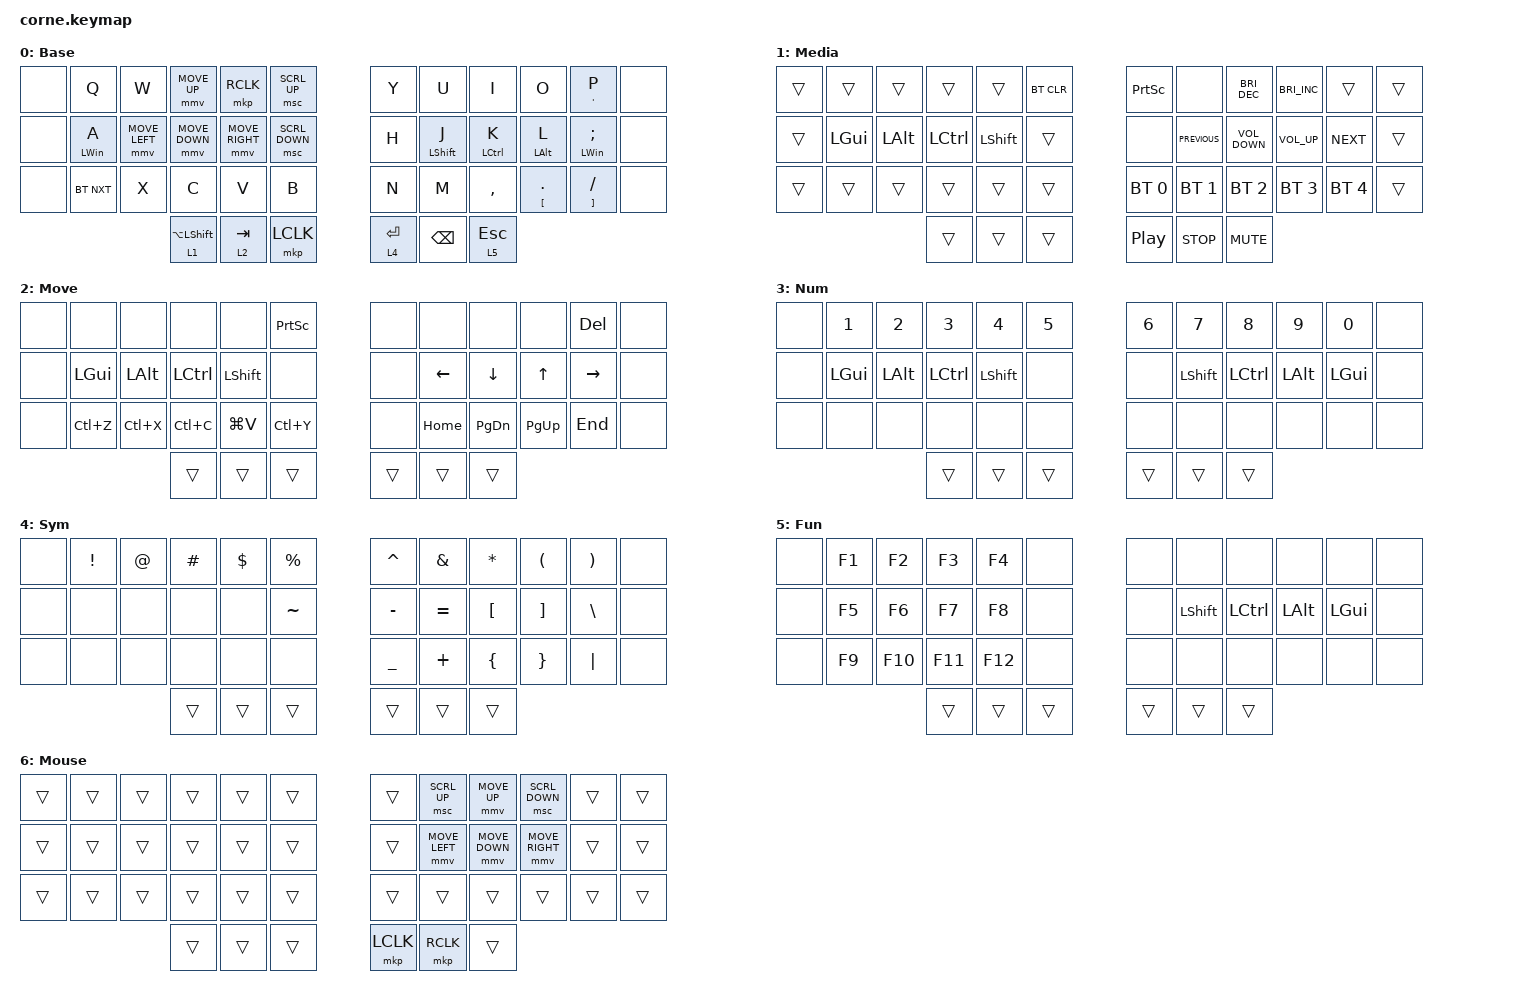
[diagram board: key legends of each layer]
/*
 * Copyright (c) 2020 The ZMK Contributors
 *
 * SPDX-License-Identifier: MIT
 */

#include <behaviors.dtsi>
#include <dt-bindings/zmk/bt.h>
#include <dt-bindings/zmk/keys.h>
#include <dt-bindings/zmk/pointing.h>

/ {
    macros {
        lang: lang {
            compatible = "zmk,behavior-macro";
            #binding-cells = <0>;
            bindings = <&kp LA(LS(LEFT_SHIFT))>;
            label = "LANG";
        };
    };

    behaviors {
        mod_tap: mod_tap {
            compatible = "zmk,behavior-hold-tap";
            label = "MOD_TAP";
            #binding-cells = <2>;
            flavor = "balanced";
            bindings = <&kp>, <&kp>;

            tapping-term-ms = <225>;
            quick-tap-ms = <165>;
            require-prior-idle-ms = <150>;
            hold-trigger-on-release;
        };
    };

    combos {
        compatible = "zmk,combos";

        Mouse_layer {
            bindings = <&tog 6>;
            key-positions = <41 40>;
        };
    };

    keymap {
        compatible = "zmk,keymap";

        Base {
            // -----------------------------------------------------------------------------------------
            // |  TAB |  Q  |  W  |  E  |  R  |  T  |   |  Y  |  U   |  I  |  O  |  P  | BSPC |
            // | CTRL |  A  |  S  |  D  |  F  |  G  |   |  H  |  J   |  K  |  L  |  ;  |  '   |
            // | SHFT |  Z  |  X  |  C  |  V  |  B  |   |  N  |  M   |  ,  |  .  |  /  | ESC  |
            //                    | GUI | LWR | SPC |   | ENT | RSE  | ALT |

            bindings = <
&none  &kp Q                &kp W           &mmv MOVE_UP          &mkp RCLK        &msc SCRL_UP      &kp Y        &kp U                  &kp I             &kp O                 &mt SQT P               &none
&none  &mod_tap LEFT_WIN A  &mmv MOVE_LEFT  &mmv MOVE_DOWN        &mmv MOVE_RIGHT  &msc SCRL_DOWN    &kp H        &mod_tap LEFT_SHIFT J  &mod_tap LCTRL K  &mod_tap LEFT_ALT L   &mod_tap LEFT_WIN SEMI  &none
&none  &bt BT_NXT           &kp X           &kp C                 &kp V            &kp B             &kp N        &kp M                  &kp COMMA         &mt LEFT_BRACKET DOT  &mt RIGHT_BRACKET FSLH  &none
                                            &lt 1 LA(LEFT_SHIFT)  &lt 2 TAB        &mkp LCLK         &lt 4 ENTER  &kp BACKSPACE          &lt 5 ESCAPE
            >;

            label = "Base";
        };

        Media {
            bindings = <
&trans  &trans    &trans    &trans     &trans     &bt BT_CLR    &kp PRINTSCREEN   &none           &kp C_BRIGHTNESS_DEC  &kp C_BRIGHTNESS_INC  &trans        &trans
&trans  &kp LGUI  &kp LALT  &kp LCTRL  &kp LSHFT  &trans        &none             &kp C_PREVIOUS  &kp C_VOLUME_DOWN     &kp C_VOLUME_UP       &kp C_NEXT    &trans
&trans  &trans    &trans    &trans     &trans     &trans        &bt BT_SEL 0      &bt BT_SEL 1    &bt BT_SEL 2          &bt BT_SEL 3          &bt BT_SEL 4  &trans
                            &trans     &trans     &trans        &kp C_PLAY_PAUSE  &kp C_STOP      &kp C_MUTE
            >;

            label = "Media";
        };

        Move {
            bindings = <
&none  &none      &none      &none      &none      &kp PRINTSCREEN    &none   &none     &none          &none        &kp DELETE  &none
&none  &kp LGUI   &kp LALT   &kp LCTRL  &kp LSHFT  &none              &none   &kp LEFT  &kp DOWN       &kp UP       &kp RIGHT   &none
&none  &kp LC(Z)  &kp LC(X)  &kp LC(C)  &kp LG(V)  &kp LC(Y)          &none   &kp HOME  &kp PAGE_DOWN  &kp PAGE_UP  &kp END     &none
                             &trans     &trans     &trans             &trans  &trans    &trans
            >;

            label = "Move";
        };

        Number {
            bindings = <
&none  &kp N1    &kp N2    &kp N3     &kp N4     &kp N5    &kp N6  &kp N7     &kp N8     &kp N9    &kp N0    &none
&none  &kp LGUI  &kp LALT  &kp LCTRL  &kp LSHFT  &none     &none   &kp LSHFT  &kp LCTRL  &kp LALT  &kp LGUI  &none
&none  &none     &none     &none      &none      &none     &none   &none      &none      &none     &none     &none
                           &trans     &trans     &trans    &trans  &trans     &trans
            >;

            label = "Num";
        };

        Symbol {
            // -----------------------------------------------------------------------------------------
            // |  TAB |  !  |  @  |  #  |  $  |  %  |   |  ^  |  &  |  *  |  (  |  )  | BSPC |
            // | CTRL |     |     |     |     |     |   |  -  |  =  |  [  |  ]  |  \  |  `   |
            // | SHFT |     |     |     |     |     |   |  _  |  +  |  {  |  }  | "|" |  ~   |
            //                    | GUI |     | SPC |   | ENT |     | ALT |

            bindings = <
&none  &kp EXCL  &kp AT  &kp HASH  &kp DLLR  &kp PRCNT    &kp CARET  &kp AMPS   &kp ASTRK  &kp LPAR  &kp RPAR  &none
&none  &none     &none   &none     &none     &kp TILDE    &kp MINUS  &kp EQUAL  &kp LBKT   &kp RBKT  &kp BSLH  &none
&none  &none     &none   &none     &none     &none        &kp UNDER  &kp PLUS   &kp LBRC   &kp RBRC  &kp PIPE  &none
                         &trans    &trans    &trans       &trans     &trans     &trans
            >;

            label = "Sym";
        };

        Function {
            bindings = <
&none  &kp F1  &kp F2   &kp F3   &kp F4   &none     &none   &none      &none      &none     &none     &none
&none  &kp F5  &kp F6   &kp F7   &kp F8   &none     &none   &kp LSHFT  &kp LCTRL  &kp LALT  &kp LGUI  &none
&none  &kp F9  &kp F10  &kp F11  &kp F12  &none     &none   &none      &none      &none     &none     &none
                        &trans   &trans   &trans    &trans  &trans     &trans
            >;

            label = "Fun";
        };

        Mouse {
            bindings = <
&trans  &trans  &trans  &trans  &trans  &trans    &trans     &msc SCRL_UP    &mmv MOVE_UP    &msc SCRL_DOWN   &trans  &trans
&trans  &trans  &trans  &trans  &trans  &trans    &trans     &mmv MOVE_LEFT  &mmv MOVE_DOWN  &mmv MOVE_RIGHT  &trans  &trans
&trans  &trans  &trans  &trans  &trans  &trans    &trans     &trans          &trans          &trans           &trans  &trans
                        &trans  &trans  &trans    &mkp LCLK  &mkp RCLK       &trans
            >;
        };
    };
};
